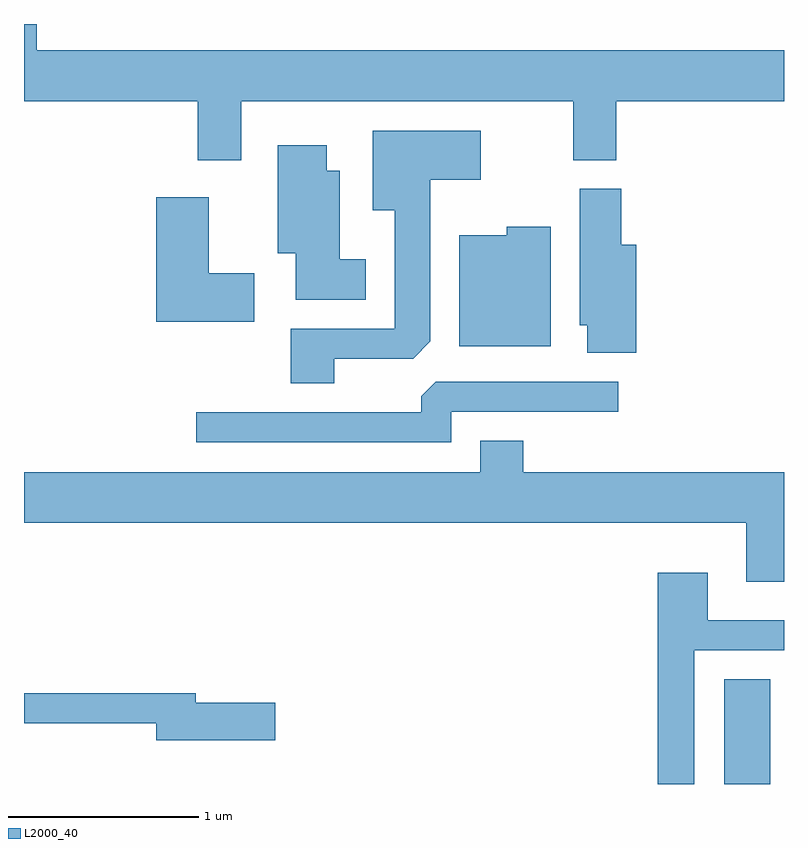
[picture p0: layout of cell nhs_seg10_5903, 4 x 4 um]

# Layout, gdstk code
import gdstk
lib = gdstk.Library(unit=1e-6, precision=1e-09)
def R(c, l, rs):  # rectangles x0, y0, x1, y1
    for r in rs: c.add(gdstk.rectangle(r[:2], r[2:], *l))
def P(c, l, *ps):  # polygons
    for p in ps: c.add(gdstk.Polygon(p, *l))
L2000_40 = (2000, 40)

nhs_seg10_5903 = lib.new_cell('nhs_seg10_5903')
R(nhs_seg10_5903, L2000_40, [(363.296,2132.522,363.539,2133.074)])
P(nhs_seg10_5903, L2000_40, [(360.754,2136.116),(362.501,2136.116),(362.501,2135.806),(362.729,2135.806),(362.729,2136.116),(363.611,2136.116),(363.611,2136.384),(359.679,2136.384),(359.679,2136.522),(359.611,2136.522),(359.611,2136.116),(360.526,2136.116),(360.526,2135.806),(360.754,2135.806)],
  [(361.244,2134.761),(361.659,2134.761),(361.749,2134.852),(361.749,2135.701),(362.014,2135.701),(362.014,2135.959),(361.446,2135.959),(361.446,2135.541),(361.561,2135.541),(361.561,2134.919),(361.016,2134.919),(361.016,2134.631),(361.244,2134.631)],
  [(361.409,2135.284),(361.274,2135.284),(361.274,2135.749),(361.204,2135.749),(361.204,2135.884),(360.946,2135.884),(360.946,2135.316),(361.041,2135.316),(361.041,2135.071),(361.409,2135.071)],
  [(362.834,2135.359),(362.754,2135.359),(362.754,2135.654),(362.536,2135.654),(362.536,2134.936),(362.576,2134.936),(362.576,2134.791),(362.834,2134.791)],
  [(360.824,2135.209),(360.584,2135.209),(360.584,2135.609),(360.306,2135.609),(360.306,2134.956),(360.824,2134.956)],
  [(362.384,2135.454),(362.151,2135.454),(362.151,2135.409),(361.901,2135.409),(361.901,2134.826),(362.384,2134.826)],
  [(361.859,2134.481),(362.738,2134.481),(362.738,2134.639),(361.777,2134.639),(361.701,2134.564),(361.701,2134.479),(360.518,2134.479),(360.518,2134.321),(361.859,2134.321)],
  [(363.611,2134.164),(362.239,2134.164),(362.239,2134.329),(362.011,2134.329),(362.011,2134.164),(359.611,2134.164),(359.611,2133.896),(363.411,2133.896),(363.411,2133.586),(363.611,2133.586)],
  [(363.139,2133.226),(363.611,2133.226),(363.611,2133.384),(363.209,2133.384),(363.209,2133.634),(362.946,2133.634),(362.946,2132.522),(363.139,2132.522)],
  [(360.934,2132.949),(360.514,2132.949),(360.514,2132.999),(359.611,2132.999),(359.611,2132.841),(360.306,2132.841),(360.306,2132.751),(360.934,2132.751)])

lib.write_gds('nhs_seg10_5903.gds')
